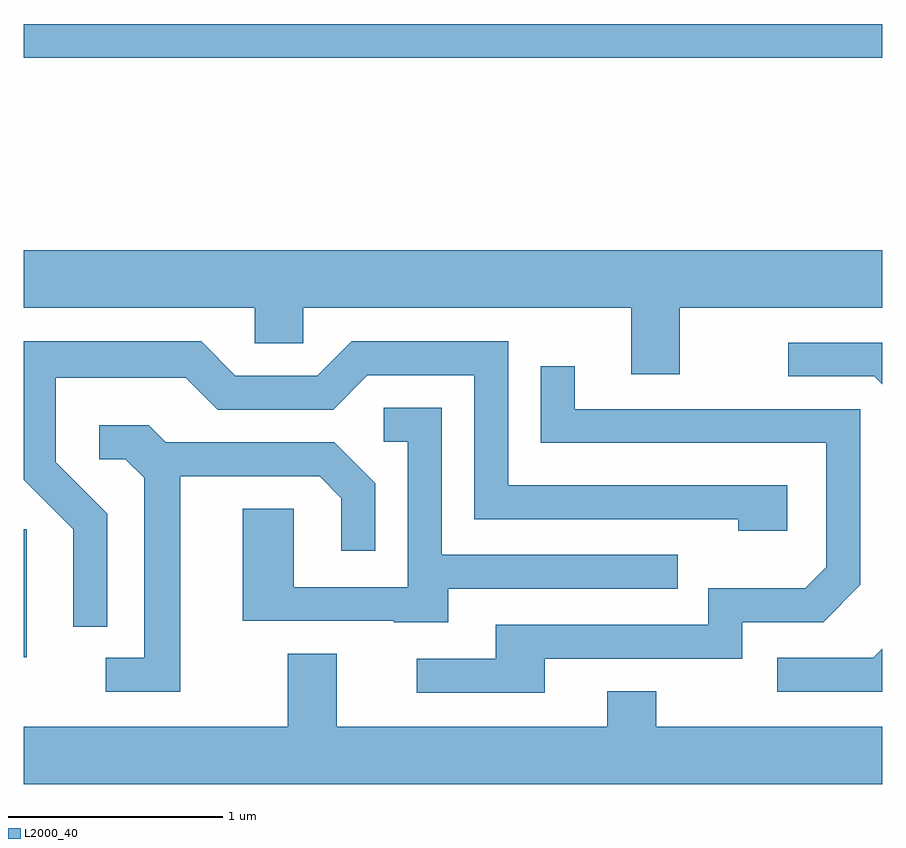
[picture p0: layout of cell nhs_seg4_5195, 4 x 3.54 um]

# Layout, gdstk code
import gdstk
lib = gdstk.Library(unit=1e-6, precision=1e-09)
def R(c, l, rs):  # rectangles x0, y0, x1, y1
    for r in rs: c.add(gdstk.rectangle(r[:2], r[2:], *l))
def P(c, l, *ps):  # polygons
    for p in ps: c.add(gdstk.Polygon(p, *l))
L2000_40 = (2000, 40)

nhs_seg4_5195 = lib.new_cell('nhs_seg4_5195')
R(nhs_seg4_5195, L2000_40, [(337.611,1308.646,337.624,1309.244), (337.611,1311.441,341.611,1311.599)])
P(nhs_seg4_5195, L2000_40, [(340.669,1310.276),(341.611,1310.276),(341.611,1310.544),(337.611,1310.544),(337.611,1310.276),(338.686,1310.276),(338.686,1310.111),(338.914,1310.111),(338.914,1310.276),(340.441,1310.276),(340.441,1309.966),(340.669,1309.966)],
  [(337.999,1309.317),(337.759,1309.557),(337.759,1309.951),(338.364,1309.951),(338.514,1309.801),(339.052,1309.801),(339.212,1309.961),(339.711,1309.961),(339.711,1309.291),(340.941,1309.291),(340.941,1309.236),(341.169,1309.236),(341.169,1309.449),(339.869,1309.449),(339.869,1310.119),(339.139,1310.119),(338.979,1309.959),(338.597,1309.959),(338.437,1310.119),(337.611,1310.119),(337.611,1309.474),(337.841,1309.244),(337.841,1308.788),(337.999,1308.788)],
  [(341.611,1310.114),(341.173,1310.114),(341.173,1309.956),(341.574,1309.956),(341.611,1309.919)],
  [(340.039,1308.641),(340.959,1308.641),(340.959,1308.811),(341.337,1308.811),(341.509,1308.984),(341.509,1309.804),(340.179,1309.804),(340.179,1310.003),(340.021,1310.003),(340.021,1309.646),(341.351,1309.646),(341.351,1309.067),(341.254,1308.969),(340.801,1308.969),(340.801,1308.799),(339.811,1308.799),(339.811,1308.639),(339.443,1308.639),(339.443,1308.481),(340.039,1308.481)],
  [(339.589,1308.966),(340.658,1308.966),(340.658,1309.124),(339.559,1309.124),(339.559,1309.809),(339.288,1309.809),(339.288,1309.651),(339.401,1309.651),(339.401,1308.974),(338.869,1308.974),(338.869,1309.339),(338.631,1309.339),(338.631,1308.816),(339.335,1308.816),(339.335,1308.811),(339.589,1308.811)],
  [(338.339,1309.491),(338.989,1309.491),(339.091,1309.389),(339.091,1309.143),(339.249,1309.143),(339.249,1309.457),(339.057,1309.649),(338.272,1309.649),(338.192,1309.729),(337.963,1309.729),(337.963,1309.571),(338.084,1309.571),(338.171,1309.484),(338.171,1308.644),(337.993,1308.644),(337.993,1308.486),(338.339,1308.486)],
  [(341.611,1308.686),(341.569,1308.644),(341.123,1308.644),(341.123,1308.486),(341.611,1308.486)],
  [(341.611,1308.324),(340.559,1308.324),(340.559,1308.489),(340.331,1308.489),(340.331,1308.324),(339.069,1308.324),(339.069,1308.664),(338.841,1308.664),(338.841,1308.324),(337.611,1308.324),(337.611,1308.056),(341.611,1308.056)])

lib.write_gds('nhs_seg4_5195.gds')
